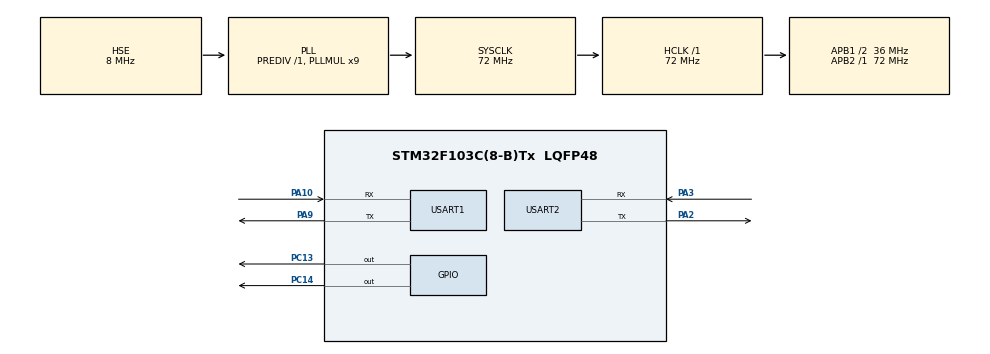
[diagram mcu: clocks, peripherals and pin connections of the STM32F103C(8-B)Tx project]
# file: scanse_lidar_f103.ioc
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Dma.Request0=USART2_TX
Dma.USART2_TX.0.Direction=DMA_MEMORY_TO_PERIPH
Dma.USART2_TX.0.Instance=DMA1_Channel7
Dma.USART2_TX.0.MemDataAlignment=DMA_MDATAALIGN_BYTE
Dma.USART2_TX.0.MemInc=DMA_MINC_ENABLE
Dma.USART2_TX.0.Mode=DMA_NORMAL
Dma.USART2_TX.0.PeriphDataAlignment=DMA_PDATAALIGN_BYTE
Dma.USART2_TX.0.PeriphInc=DMA_PINC_DISABLE
Dma.USART2_TX.0.Priority=DMA_PRIORITY_LOW
FREERTOS.INCLUDE_vTaskDelayUntil=1
FREERTOS.Tasks01=defaultTask,0,128,StartDefaultTask,Default,NULL
Mcu.Family=STM32F1
Mcu.Name=STM32F103C(8-B)Tx
Mcu.Package=LQFP48
NVIC.DMA1_Channel7_IRQn=true\:5\:0\:false\:false\:true\:true\:false
NVIC.PriorityGroup=NVIC_PRIORITYGROUP_4
NVIC.TIM1_UP_IRQn=true\:0\:0\:false\:false\:true\:false\:false
NVIC.TimeBase=TIM1_UP_IRQn
NVIC.TimeBaseIP=TIM1
NVIC.USART1_IRQn=true\:5\:0\:false\:false\:true\:true\:true
NVIC.USART2_IRQn=true\:5\:0\:false\:false\:true\:true\:true
PA10.Mode=Asynchronous
PA10.Signal=USART1_RX
PA13.Mode=Serial_Wire
PA13.Signal=SYS_JTMS-SWDIO
PA14.Mode=Serial_Wire
PA14.Signal=SYS_JTCK-SWCLK
PA2.Mode=Asynchronous
PA2.Signal=USART2_TX
PA3.Mode=Asynchronous
PA3.Signal=USART2_RX
PA9.Mode=Asynchronous
PA9.Signal=USART1_TX
PC13-TAMPER-RTC.Signal=GPIO_Output
PC14-OSC32_IN.Signal=GPIO_Output
PD0-OSC_IN.Mode=HSE-External-Oscillator
PD0-OSC_IN.Signal=RCC_OSC_IN
PD1-OSC_OUT.Mode=HSE-External-Oscillator
PD1-OSC_OUT.Signal=RCC_OSC_OUT
ProjectManager.HeapSize=0x200
ProjectManager.StackSize=0x400
ProjectManager.TargetToolchain=SW4STM32
RCC.AHBFreq_Value=72000000
RCC.APB1CLKDivider=RCC_HCLK_DIV2
RCC.APB1Freq_Value=36000000
RCC.APB1TimFreq_Value=72000000
RCC.APB2Freq_Value=72000000
RCC.APB2TimFreq_Value=72000000
RCC.HCLKFreq_Value=72000000
RCC.PLLMUL=RCC_PLL_MUL9
RCC.PLLSourceVirtual=RCC_PLLSOURCE_HSE
RCC.SYSCLKFreq_VALUE=72000000
RCC.SYSCLKSource=RCC_SYSCLKSOURCE_PLLCLK
RCC.USBFreq_Value=72000000
USART1.VirtualMode=VM_ASYNC
USART2.VirtualMode=VM_ASYNC
VP_FREERTOS_VS_ENABLE.Mode=Enabled
VP_SYS_VS_tim1.Mode=TIM1
board=scanse_lidar_f103

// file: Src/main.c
/**
  ******************************************************************************
  * File Name          : main.c
  * Description        : Main program body
  ******************************************************************************
  * This notice applies to any and all portions of this file
  * that are not between comment pairs USER CODE BEGIN and
  * USER CODE END. Other portions of this file, whether
  * inserted by the user or by software development tools
  * are owned by their respective copyright owners.
  *
  * Copyright (c) 2018 STMicroelectronics International N.V.
  * All rights reserved.
  *
  * Redistribution and use in source and binary forms, with or without
  * modification, are permitted, provided that the following conditions are met:
  *
  * 1. Redistribution of source code must retain the above copyright notice,
  *    this list of conditions and the following disclaimer.
  * 2. Redistributions in binary form must reproduce the above copyright notice,
  *    this list of conditions and the following disclaimer in the documentation
  *    and/or other materials provided with the distribution.
  * 3. Neither the name of STMicroelectronics nor the names of other
  *    contributors to this software may be used to endorse or promote products
  *    derived from this software without specific written permission.
  * 4. This software, including modifications and/or derivative works of this
  *    software, must execute solely and exclusively on microcontroller or
  *    microprocessor devices manufactured by or for STMicroelectronics.
  * 5. Redistribution and use of this software other than as permitted under
  *    this license is void and will automatically terminate your rights under
  *    this license.
  *
  * THIS SOFTWARE IS PROVIDED BY STMICROELECTRONICS AND CONTRIBUTORS "AS IS"
  * AND ANY EXPRESS, IMPLIED OR STATUTORY WARRANTIES, INCLUDING, BUT NOT
  * LIMITED TO, THE IMPLIED WARRANTIES OF MERCHANTABILITY, FITNESS FOR A
  * PARTICULAR PURPOSE AND NON-INFRINGEMENT OF THIRD PARTY INTELLECTUAL PROPERTY
  * RIGHTS ARE DISCLAIMED TO THE FULLEST EXTENT PERMITTED BY LAW. IN NO EVENT
  * SHALL STMICROELECTRONICS OR CONTRIBUTORS BE LIABLE FOR ANY DIRECT, INDIRECT,
  * INCIDENTAL, SPECIAL, EXEMPLARY, OR CONSEQUENTIAL DAMAGES (INCLUDING, BUT NOT
  * LIMITED TO, PROCUREMENT OF SUBSTITUTE GOODS OR SERVICES; LOSS OF USE, DATA,
  * OR PROFITS; OR BUSINESS INTERRUPTION) HOWEVER CAUSED AND ON ANY THEORY OF
  * LIABILITY, WHETHER IN CONTRACT, STRICT LIABILITY, OR TORT (INCLUDING
  * NEGLIGENCE OR OTHERWISE) ARISING IN ANY WAY OUT OF THE USE OF THIS SOFTWARE,
  * EVEN IF ADVISED OF THE POSSIBILITY OF SUCH DAMAGE.
  *
  ******************************************************************************
  */

#include "main.h"
#include "stm32f1xx_hal.h"
#include "cmsis_os.h"

UART_HandleTypeDef huart1;
UART_HandleTypeDef huart2;
DMA_HandleTypeDef hdma_usart2_tx;

osThreadId defaultTaskHandle;

/* USER CODE BEGIN PV */
#include <string.h>

/* Private variables ---------------------------------------------------------*/
// define scanse sweep settings
#define SCANSE_SAMPLE_RATE		500		// [Hz]
#define SCANSE_SWEEP_RATE		5		// [Hz]
#define SCANSE_I2C_ID			0x73	// random number.. can be changed if conflicting

#define USE_DMA		1

// buffer for UART interrupt from scanse sweep
extern volatile uint16_t head;
volatile uint16_t tail;

extern uint8_t rx_buff_in[CIRC_BUFF_SIZE];
uint8_t rx_in_char;

// uart out buff
uint8_t tx_buff[8];
uint8_t tx2_buff[32];

/*
 * create buffer big enough to store 6 bytes (distance and angle)
 * max specs: 500Hz sample rate for 5Hz -> up to 100 measurements
 * better be safe and consider up to 110 measurements.
 * leave first 4 bytes for transaction ID and measurement counter
 * include additional 12 bytes for pos (x, y) and heading after the initial 4bytes
 */
#define MAX_I2C_BUFF_SIZE	2 +2 +4*3 + 6*(int)(SCANSE_SAMPLE_RATE/SCANSE_SWEEP_RATE)
uint8_t i2c_buff_out[MAX_I2C_BUFF_SIZE];

uint16_t scanse_count;

// err counter to know if any checksum error on receiving..
uint8_t err_crc;

// variables holding values of pos and heading
float rob_pos_x = 0.;
float rob_pos_y = 0.;
float rob_heading = 0.;

/* USER CODE END PV */

void SystemClock_Config(void);
static void MX_GPIO_Init(void);
static void MX_DMA_Init(void);
static void MX_USART1_UART_Init(void);
static void MX_USART2_UART_Init(void);
void StartDefaultTask(void const * argument);

/* USER CODE BEGIN PFP */
/* Private function prototypes -----------------------------------------------*/

/* USER CODE END PFP */

int main(void)
{

  /* MCU Configuration----------------------------------------------------------*/

  /* Reset of all peripherals, Initializes the Flash interface and the Systick. */
  HAL_Init();

  /* Configure the system clock */
  SystemClock_Config();

  /* Initialize all configured peripherals */
  MX_GPIO_Init();
  MX_DMA_Init();
  MX_USART1_UART_Init();
  MX_USART2_UART_Init();

  /* Create the thread(s) */
  /* definition and creation of defaultTask */
  osThreadDef(defaultTask, StartDefaultTask, osPriorityNormal, 0, 128);
  defaultTaskHandle = osThreadCreate(osThread(defaultTask), NULL);

  /* Start scheduler */
  osKernelStart();

  /* We should never get here as control is now taken by the scheduler */

  /* Infinite loop */
  while (1)
  {

  }

}

/** System Clock Configuration
*/
void SystemClock_Config(void)
{

  RCC_OscInitTypeDef RCC_OscInitStruct;
  RCC_ClkInitTypeDef RCC_ClkInitStruct;

    /**Initializes the CPU, AHB and APB busses clocks
    */
  RCC_OscInitStruct.OscillatorType = RCC_OSCILLATORTYPE_HSE;
  RCC_OscInitStruct.HSEState = RCC_HSE_ON;
  RCC_OscInitStruct.HSEPredivValue = RCC_HSE_PREDIV_DIV1;
  RCC_OscInitStruct.HSIState = RCC_HSI_ON;
  RCC_OscInitStruct.PLL.PLLState = RCC_PLL_ON;
  RCC_OscInitStruct.PLL.PLLSource = RCC_PLLSOURCE_HSE;
  RCC_OscInitStruct.PLL.PLLMUL = RCC_PLL_MUL9;
  if (HAL_RCC_OscConfig(&RCC_OscInitStruct) != HAL_OK)
  {
    _Error_Handler(__FILE__, __LINE__);
  }

    /**Initializes the CPU, AHB and APB busses clocks
    */
  RCC_ClkInitStruct.ClockType = RCC_CLOCKTYPE_HCLK|RCC_CLOCKTYPE_SYSCLK
                              |RCC_CLOCKTYPE_PCLK1|RCC_CLOCKTYPE_PCLK2;
  RCC_ClkInitStruct.SYSCLKSource = RCC_SYSCLKSOURCE_PLLCLK;
  RCC_ClkInitStruct.AHBCLKDivider = RCC_SYSCLK_DIV1;
  RCC_ClkInitStruct.APB1CLKDivider = RCC_HCLK_DIV2;
  RCC_ClkInitStruct.APB2CLKDivider = RCC_HCLK_DIV1;

  if (HAL_RCC_ClockConfig(&RCC_ClkInitStruct, FLASH_LATENCY_2) != HAL_OK)
  {
    _Error_Handler(__FILE__, __LINE__);
  }

    /**Configure the Systick interrupt time
    */
  HAL_SYSTICK_Config(HAL_RCC_GetHCLKFreq()/1000);

    /**Configure the Systick
    */
  HAL_SYSTICK_CLKSourceConfig(SYSTICK_CLKSOURCE_HCLK);

  /* SysTick_IRQn interrupt configuration */
  HAL_NVIC_SetPriority(SysTick_IRQn, 15, 0);
}

/* USART1 init function */
static void MX_USART1_UART_Init(void)
{

  huart1.Instance = USART1;
  huart1.Init.BaudRate = 115200;
  huart1.Init.WordLength = UART_WORDLENGTH_8B;
  huart1.Init.StopBits = UART_STOPBITS_1;
  huart1.Init.Parity = UART_PARITY_NONE;
  huart1.Init.Mode = UART_MODE_TX_RX;
  huart1.Init.HwFlowCtl = UART_HWCONTROL_NONE;
  huart1.Init.OverSampling = UART_OVERSAMPLING_16;
  if (HAL_UART_Init(&huart1) != HAL_OK)
  {
    _Error_Handler(__FILE__, __LINE__);
  }

}

/* USART2 init function */
static void MX_USART2_UART_Init(void)
{

  huart2.Instance = USART2;
  huart2.Init.BaudRate = 115200;
  huart2.Init.WordLength = UART_WORDLENGTH_8B;
  huart2.Init.StopBits = UART_STOPBITS_1;
  huart2.Init.Parity = UART_PARITY_NONE;
  huart2.Init.Mode = UART_MODE_TX_RX;
  huart2.Init.HwFlowCtl = UART_HWCONTROL_NONE;
  huart2.Init.OverSampling = UART_OVERSAMPLING_16;
  if (HAL_UART_Init(&huart2) != HAL_OK)
  {
    _Error_Handler(__FILE__, __LINE__);
  }

}

static void MX_DMA_Init(void)
{
  /* DMA controller clock enable */
  __HAL_RCC_DMA1_CLK_ENABLE();

  /* DMA interrupt init */
  /* DMA1_Channel7_IRQn interrupt configuration */
  HAL_NVIC_SetPriority(DMA1_Channel7_IRQn, 5, 0);
  HAL_NVIC_EnableIRQ(DMA1_Channel7_IRQn);

}

/** Configure pins as
        * Analog
        * Input
        * Output
        * EVENT_OUT
        * EXTI
*/
static void MX_GPIO_Init(void)
{

  GPIO_InitTypeDef GPIO_InitStruct;

  /* GPIO Ports Clock Enable */
  __HAL_RCC_GPIOC_CLK_ENABLE();
  __HAL_RCC_GPIOD_CLK_ENABLE();
  __HAL_RCC_GPIOA_CLK_ENABLE();

  /*Configure GPIO pin Output Level */
  HAL_GPIO_WritePin(GPIOC, GPIO_PIN_13|GPIO_PIN_14, GPIO_PIN_RESET);

  /*Configure GPIO pins : PC13 PC14 */
  GPIO_InitStruct.Pin = GPIO_PIN_13|GPIO_PIN_14;
  GPIO_InitStruct.Mode = GPIO_MODE_OUTPUT_PP;
  GPIO_InitStruct.Speed = GPIO_SPEED_FREQ_LOW;
  HAL_GPIO_Init(GPIOC, &GPIO_InitStruct);

}

/* USER CODE BEGIN 4 */
/*
// DMA complete read callback
void HAL_UART_RxCpltCallback(UART_HandleTypeDef *huart) {
	if (huart->Instance == huart1.Instance) {
		// completed receiving 1 byte from DMA to local variable rx_in_char
		rx_buff_in[head++] = rx_in_char;
		//head++;
	}
}
//*/

volatile uint16_t calculatedSum;
volatile uint8_t i_coun;

void initialize_scanse_lidar( void ) {
	// initialize variables
	head = 0;
	tail = 0;
	scanse_count = 0;

	err_crc = 0;

	// send message to scanse sweep lidar to set settings and start acquisition
	// TODO: send commands for settings. default values are 5Hz sweep and 500Hz sample rate

	sprintf((char *)tx2_buff, "\r\nstart lidar\r\n");
	if (USE_DMA) {HAL_UART_Transmit_DMA(&huart2, tx2_buff, 15);}
	else {HAL_UART_Transmit(&huart2, tx2_buff, 15, 10);}

	// make sure the sensor (re)starts as well
	HAL_GPIO_WritePin(GPIOC, GPIO_PIN_14, GPIO_PIN_RESET);
	HAL_Delay(2000);
	HAL_GPIO_WritePin(GPIOC, GPIO_PIN_14, GPIO_PIN_SET);

	/*
	HAL_Delay(10000);
	sprintf((char *)tx_buff, "DS\n");
	HAL_UART_Transmit(&huart1, tx_buff, 3, 10);
	HAL_Delay(1000);
	HAL_UART_Receive_DMA(&huart1, &rx_in_char, 1);
	//*/

	//*
	// start acquisition:
	// the sensor return error till everything is set properly
	// and motor spinning at correct frequency
	while (1) {
		sprintf((char *)tx_buff, "DS\n");
		HAL_UART_Transmit(&huart1, tx_buff, 3, 10);

		HAL_UART_Receive(&huart1, rx_buff_in, 6, 100);

		// if everything ok on the sensor side, enable uart interrupt to start acquisition
		if ( strstr((char *)rx_buff_in, "DS00") != NULL ) {
			// enable usart interrupt
			__HAL_UART_ENABLE_IT(&huart1, UART_IT_RXNE);
			//// start DMA read (1byte only)
			//HAL_UART_Receive_DMA(&huart1, &rx_in_char, 1);
			break;
		}
		// toggle led
		//HAL_GPIO_TogglePin(GPIOC, GPIO_PIN_13);

		// wait 50ms before send start acquisition command again.
		HAL_Delay(50);
	} //*/
}

/*
volatile uint8_t transferDirection, transferRequested;
#define TRANSFER_DIR_WRITE      0x1
#define TRANSFER_DIR_READ       0x0

void HAL_I2C_AddrCallback(I2C_HandleTypeDef *hi2c, uint8_t TransferDirection, uint16_t AddrMatchCode) {
	UNUSED(AddrMatchCode);

	sprintf((char *)tx2_buff, "h");
	HAL_UART_Transmit(&huart2, tx2_buff, 1, 10);

	if(hi2c->Instance == I2C1) {
	  // Master is sending register address
	  if ( TransferDirection == TRANSFER_DIR_WRITE ) {

		  //HAL_I2C_Slave_Sequential_Receive_IT(&hi2c1, i2c_buff_in, 1, I2C_FIRST_FRAME);
		  HAL_I2C_Slave_Receive_IT(&hi2c1, i2c_buff_in, 1);
		  //while (HAL_I2C_GetState(&hi2c1) != HAL_I2C_STATE_LISTEN);

		  //HAL_I2C_Slave_Sequential_Transmit_IT(&hi2c1, i2c_buff_in, 20, I2C_LAST_FRAME);
		  //while (HAL_I2C_GetState(&hi2c1) != HAL_I2C_STATE_READY);

		  sprintf((char *)tx2_buff, "w");
	 	  HAL_UART_Transmit(&huart2, tx2_buff, 1, 10);
	  } else {
		  HAL_I2C_Slave_Transmit_IT(&hi2c1, i2c_buff_in, 2);
		  //while (HAL_I2C_GetState(&hi2c1) != HAL_I2C_STATE_READY);

		  sprintf((char *)tx2_buff, "r");
	 	  HAL_UART_Transmit(&huart2, tx2_buff, 1, 10);
	  }
	}
	sprintf((char *)tx2_buff, "g\r\n");
	HAL_UART_Transmit(&huart2, tx2_buff, 3, 10);
}
//*/

/*
void HAL_I2C_SxlaveRxCpltCallback(I2C_HandleTypeDef *hi2c) {
	// this function is called whenever something is received on the i2c line.
	// here i want to
	//__HAL_I2C_ENABLE_IT(&hi2c1, I2C_IT_EVT | I2C_IT_BUF | I2C_IT_ERR);

	//uint8_t i2c_buff_in;
    //HAL_I2C_Slave_Receive_IT(&hi2c1, &i2c_buff_in, 1);
	HAL_GPIO_TogglePin(GPIOC, GPIO_PIN_13);
}
//*/
/* USER CODE END 4 */

/* StartDefaultTask function */
void StartDefaultTask(void const * argument)
{

  /* USER CODE BEGIN 5 */
	portTickType xLastWakeTime;

	float task_freq = SCANSE_SWEEP_RATE * 10;	// [Hz]

	// define decoding variables
	int16_t offset;
	uint16_t distance;
	float angle;

	// initialize sensor
	initialize_scanse_lidar();

	sprintf((char *)tx2_buff, "acquiring..\r\n");
	if (USE_DMA) {HAL_UART_Transmit_DMA(&huart2, tx2_buff, 13);}
	else {HAL_UART_Transmit(&huart2, tx2_buff, 13, 10);}

	// enable i2c IT
	////__HAL_I2C_ENABLE_IT(&hi2c1, I2C_IT_EVT | I2C_IT_BUF | I2C_IT_ERR);
	//HAL_I2C_Slave_Transmit_IT(&hi2c1, i2c_buff_out, 20);
	//HAL_I2C_EnableListen_IT(&hi2c1);

	// Initialize the xLastWakeTime variable with the current time.
	xLastWakeTime = xTaskGetTickCount ();

	while (1) {

		// get absolute offset between head and tail
		offset = (head - tail) >= 0 ? head - tail : CIRC_BUFF_SIZE + head - tail;

		while ( offset >= 7 ) {
			// checksum check
			calculatedSum = 0;
			for (i_coun = 0; i_coun < 6; i_coun++) {
				//add each status byte to the running sum
				calculatedSum += rx_buff_in[(tail + i_coun) % CIRC_BUFF_SIZE];
			}
			if ( (calculatedSum % 255) != rx_buff_in[(tail + 6) % CIRC_BUFF_SIZE] ) {
				// error checksum.. could be cause wrong data received, or cause lost some data
				++tail;
				tail %= CIRC_BUFF_SIZE;
				--offset;
				++err_crc;

				continue;
			}

			// if here, good checksum

			// if synch packet, send previous data through i2c
			if ( rx_buff_in[tail] & 0x01 ) {
				sprintf((char *)tx2_buff, "mcou: %3d\r\n", scanse_count);
				if (USE_DMA) {HAL_UART_Transmit_DMA(&huart2, tx2_buff, 11);}
				else {HAL_UART_Transmit(&huart2, tx2_buff, 11, 10);}

				// prepare i2c buffer
				i2c_buff_out[0] = SCANSE_I2C_ID;
				memcpy(&i2c_buff_out[2], &scanse_count, sizeof(uint16_t));
				memcpy(&i2c_buff_out[4], &rob_pos_x, sizeof(float));
				memcpy(&i2c_buff_out[8], &rob_pos_y, sizeof(float));
				memcpy(&i2c_buff_out[12], &rob_heading, sizeof(float));

				// send data i2c interface to be sent when master requests for it
				//HAL_I2C_Slave_Transmit_DMA(&hi2c1, i2c_buff_out, MAX_I2C_BUFF_SIZE);
				/*
				// TODO: here make sure the i2c line idle, otherwise may create problems
				if ( HAL_I2C_Slave_Transmit_IT(&hi2c1, i2c_buff_out, MAX_I2C_BUFF_SIZE) ){
					// make sure IT is re-enabled
					__HAL_I2C_ENABLE_IT(&hi2c1, I2C_IT_EVT | I2C_IT_BUF | I2C_IT_ERR);
				}
				//*/

				// toggle led
				HAL_GPIO_TogglePin(GPIOC, GPIO_PIN_13);

				scanse_count = 0;
			}

			// now read packet and store in i2c buff
			angle = ( (rx_buff_in[(tail + 2) % CIRC_BUFF_SIZE] << 8) + rx_buff_in[(tail + 1) % CIRC_BUFF_SIZE] )/16.;
			distance = (rx_buff_in[(tail + 4) % CIRC_BUFF_SIZE] << 8) + rx_buff_in[(tail + 3) % CIRC_BUFF_SIZE];

			// copy in i2c buff out
			memcpy(&i2c_buff_out[16 + scanse_count*6], &angle, sizeof(float));
			memcpy(&i2c_buff_out[20 + scanse_count*6], &distance, sizeof(uint16_t));

			++scanse_count;
			tail = (tail + 7) % CIRC_BUFF_SIZE;
			offset -= 7;
		} // end while

		if ( err_crc != 0 ) {
			sprintf((char *)tx2_buff, "err: %3d\r\n", err_crc);
			if (USE_DMA) {HAL_UART_Transmit_DMA(&huart2, tx2_buff, 10);}
			else {HAL_UART_Transmit(&huart2, tx2_buff, 10, 10);}

			err_crc = 0;

			// blink led 2 times
			/*
			HAL_GPIO_WritePin(GPIOC, GPIO_PIN_13, GPIO_PIN_RESET);
			vTaskDelay(20 / portTICK_RATE_MS);
			HAL_GPIO_WritePin(GPIOC, GPIO_PIN_13, GPIO_PIN_SET);
			vTaskDelay(10 / portTICK_RATE_MS);
			HAL_GPIO_WritePin(GPIOC, GPIO_PIN_13, GPIO_PIN_RESET);
			vTaskDelay(20 / portTICK_RATE_MS);
			HAL_GPIO_WritePin(GPIOC, GPIO_PIN_13, GPIO_PIN_SET);
			vTaskDelay(10 / portTICK_RATE_MS);
			//*/
		}

		// Wait for the next cycle.
		vTaskDelayUntil( &xLastWakeTime, 1000 / task_freq / portTICK_RATE_MS );
	}

	vTaskDelete(NULL);

  /* USER CODE END 5 */
}

void HAL_TIM_PeriodElapsedCallback(TIM_HandleTypeDef *htim)
{
  if (htim->Instance == TIM1) {
    HAL_IncTick();
  }
}

void _Error_Handler(char * file, int line)
{
  while(1)
  {
  }
}

/************************ (C) COPYRIGHT STMicroelectronics *****END OF FILE****/
